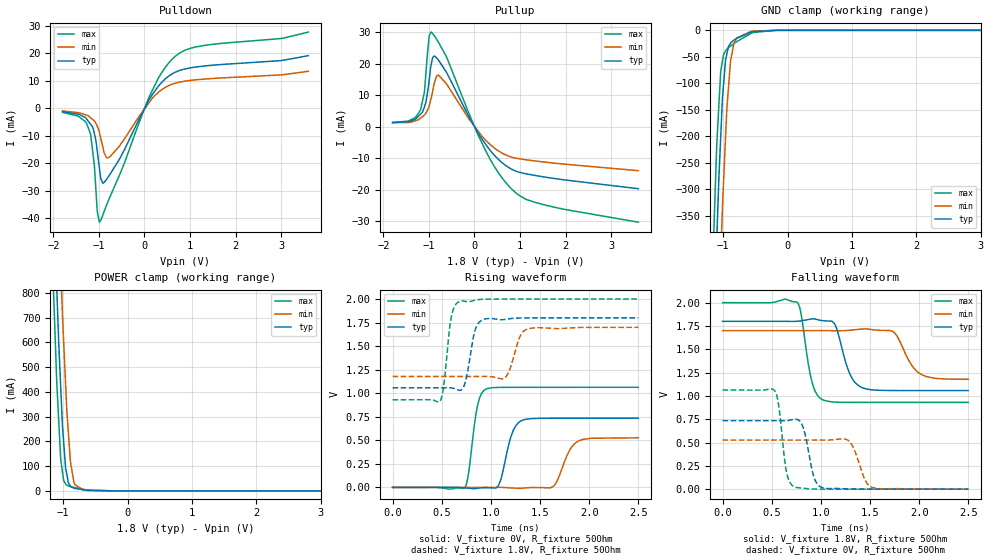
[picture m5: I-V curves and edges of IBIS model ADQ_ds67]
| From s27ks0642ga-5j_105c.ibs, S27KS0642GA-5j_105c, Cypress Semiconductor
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[Model]   ADQ_ds67
Model_type   I/O
Polarity   Non-Inverting
Enable   Active-High
Vinl = 0.54
Vinh = 1.26
Vmeas = 0.9
Vref = 0.9
Cref = 15pF
|   typ   min   max
C_comp   1.03pF   1.01pF   1.05pF
[Voltage Range]   1.8   1.7   2
[Temperature Range]   25   105   -40
[Pullup Reference]   1.8   1.7   2
[Pulldown Reference]   0   0   0
[Power Clamp Reference]   1.8   1.7   2
[GND Clamp Reference]   0   0   0
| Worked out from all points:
|   slope of the pulldown table from 0 to 0.27 V, typ, clamps not added: 36.6 ohm
|   slope of the pullup table from 0 to 0.27 V, typ, clamps not added: 44.1 ohm
|   falling waveform, V_fixture 1.8V, R_fixture 50Ohm: 20-80 % time 129ps typ, 161ps min, 98.2ps max; typ from 1.8 V to 1.06 V
|   rising waveform, V_fixture 0V, R_fixture 50Ohm: 20-80 % time 104ps typ, 129ps min, 80.1ps max; typ from 0 V to 0.735 V
|   rising waveform, V_fixture 1.8V, R_fixture 50Ohm: 20-80 % time 76.2ps typ, 91.4ps min, 65ps max; typ from 1.06 V to 1.8 V
|   falling waveform, V_fixture 0V, R_fixture 50Ohm: 20-80 % time 85ps typ, 105ps min, 68.5ps max; typ from 0.735 V to 0 V
[Pulldown]
|   Voltage   I(typ)   I(min)   I(max)
-1.8V     -1.179mA   -933.9uA   -1.466mA
-1.31V    -3.211mA   -2.24mA    -4.615mA
-1.184V   -5.77mA    -3.431mA   -9.364mA
-1.1V     -9.285mA   -4.647mA   -20.94mA
-1.067V   -11.7mA    -5.394mA   -29.57mA
-1.038V   -15.53mA   -6.521mA   -37.34mA
-992mV    -21.58mA   -8.757mA   -41.38mA
-916.2mV  -27.23mA   -14.01mA   -38.82mA
-792mV    -24.82mA   -17.9mA    -33.49mA
100mV     3.077mA    2.045mA    4.075mA
670mV     13.09mA    9.111mA    18.83mA
3.6V      19.15mA    13.46mA    27.72mA
[GND Clamp]
|   Voltage   I(typ)   I(min)   I(max)
-1.8V     -3.484A    -3.741A    -3.305A
-1.184V   -723.9mA   -994.4mA   -521.8mA
-1.121V   -471.4mA   -740.5mA   -294.8mA
-1.089V   -359.3mA   -610.8mA   -193.4mA
-1.037V   -198.4mA   -423.1mA   -76.68mA
-1.012V   -130.3mA   -337.4mA   -58.58mA
-963mV    -56.14mA   -202.9mA   -39mA
-943.2mV  -45.02mA   -149.3mA   -35.77mA
-885.4mV  -24.29mA   -58.04mA   -29.74mA
-790mV    -15.07mA   -14.41mA   -21.38mA
-178.2mV  -193.7nA   -530.3nA   -1.596uA
3.6V      0A         0A         0A
[Pullup]
|   Voltage   I(typ)   I(min)   I(max)
-1.8V     1.354mA    1.3mA      1.387mA
-1.46V    1.58mA     1.343mA    1.8mA
-1.184V   4.022mA    2.787mA    5.376mA
-1.1V     6.262mA    3.722mA    11.04mA
-1.066V   7.909mA    4.327mA    17.35mA
-994mV    14.98mA    6.773mA    29mA
-952mV    19.67mA    9.015mA    30.02mA
-887.1mV  22.39mA    13.63mA    28.94mA
-786.6mV  21.03mA    16.34mA    26.68mA
162mV     -3.845mA   -2.916mA   -5.105mA
902mV     -14.01mA   -9.922mA   -20.85mA
3.6V      -19.62mA   -13.9mA    -30.23mA
[POWER Clamp]
|   Voltage   I(typ)   I(min)   I(max)
-1.8V     6.849A     7.358A     6.488A
-1.147V   1.167A     1.728A     784.5mA
-1.1V     821.9mA    1.355A     442.5mA
-1.089V   746.8mA    1.27A      388.7mA
-1.038V   420.1mA    901.1mA    128.1mA
-1.012V   267.7mA    718.3mA    77.93mA
-963mV    94.2mA     436.1mA    29.43mA
-950mV    76.23mA    362.1mA    24.41mA
-887.1mV  19.54mA    119.5mA    17.66mA
-834.4mV  11.16mA    37mA       14.31mA
-688.2mV  4.565mA    3.723mA    6.74mA
3.6V      0A         0A         0A
[Ramp]
R_load = 50
|   typ   min   max
dV/dt_r 4.4096E-01/1.0396E-10   3.1582E-01/1.2819E-10   6.3774E-01/7.9626E-11
dV/dt_f 4.4543E-01/1.2785E-10   3.1315E-01/1.6055E-10   6.4167E-01/9.8166E-11
[Falling Waveform]
V_fixture = 1.8V
V_fixture_min = 1.7V
V_fixture_max = 2V
R_fixture = 50Ohm
C_fixture = 0F
|   Time   V(typ)   V(min)   V(max)
0s        1.8V       1.7V       2V
765ps     1.801V     1.7V       1.998V
910ps     1.826V     1.7V       1.149V
1.03ns    1.806V     1.7V       953.2mV
1.14ns    1.771V     1.699V     933.8mV
1.295ns   1.235V     1.705V     930.8mV
1.41ns    1.093V     1.717V     930.6mV
1.75ns    1.058V     1.677V     930.5mV
2.025ns   1.058V     1.228V     930.5mV
2.5ns     1.058V     1.178V     930.5mV
[Rising Waveform]
V_fixture = 0V
V_fixture_min = 0V
V_fixture_max = 0V
R_fixture = 50Ohm
C_fixture = 0F
|   Time   V(typ)   V(min)   V(max)
0s        0V         0V         0V
735ps     -5.077mV   0V         -4.098mV
865ps     -8.817mV   -8.279uV   871.4mV
955ps     -2.681mV   19.63uV    1.046V
1.08ns    24.51mV    552.3uV    1.062V
1.205ns   542.2mV    -5.899mV   1.063V
1.31ns    707.8mV    -9.899mV   1.063V
1.635ns   734.5mV    10.2mV     1.063V
1.9ns     734.8mV    497mV      1.063V
2.5ns     734.9mV    526.4mV    1.063V
[Rising Waveform]
V_fixture = 1.8V
V_fixture_min = 1.7V
V_fixture_max = 2V
R_fixture = 50Ohm
C_fixture = 0F
|   Time   V(typ)   V(min)   V(max)
0s        1.058V     1.178V     930.5mV
485ps     1.058V     1.178V     919.5mV
525ps     1.058V     1.178V     1.114V
595ps     1.057V     1.178V     1.796V
680ps     1.03V      1.178V     1.976V
840ps     1.671V     1.178V     1.988V
910ps     1.778V     1.178V     1.998V
1.145ns   1.784V     1.166V     2V
1.375ns   1.8V       1.685V     2V
2.5ns     1.8V       1.7V       2V
[Falling Waveform]
|Gnd
V_fixture = 0V
V_fixture_min = 0V
V_fixture_max = 0V
R_fixture = 50Ohm
C_fixture = 0F
|   Time   V(typ)   V(min)   V(max)
0s        734.9mV    526.5mV    1.063V
530ps     734.9mV    526.5mV    1.056V
570ps     735mV      526.5mV    904.8mV
650ps     735.4mV    526.5mV    186.6mV
730ps     750mV      526.5mV    22.98mV
820ps     659.8mV    526.5mV    9.93mV
995ps     24.83mV    526.5mV    467.6uV
1.275ns   2.667mV    524.6mV    1.204uV
1.53ns    65.74uV    15.85mV    -880.3nV
2.5ns     0V         567.4nV    0V
